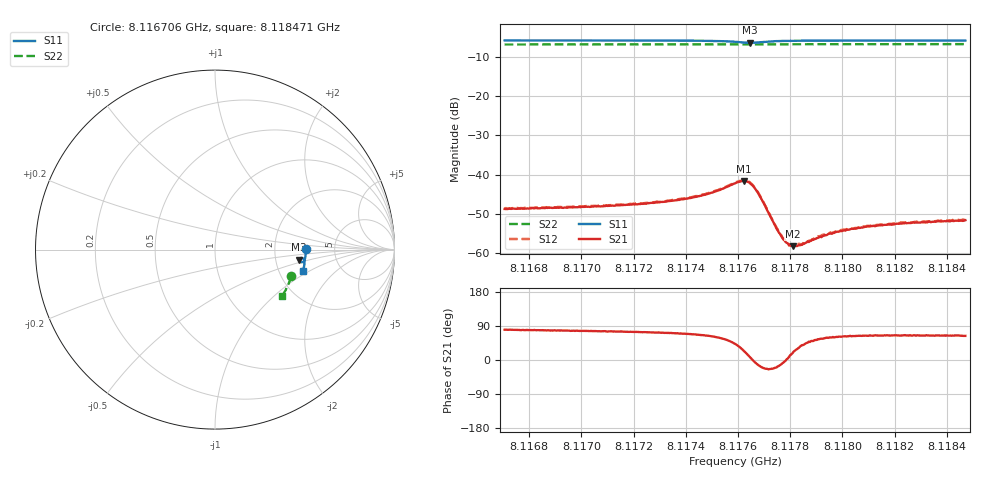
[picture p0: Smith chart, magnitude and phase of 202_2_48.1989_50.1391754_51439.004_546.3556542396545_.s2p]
#  HZ  S  RI  R  50.00
! Rohde & Schwarz Vector Network Analyzer
! Rohde-Schwarz,ZNB20-2Port,1311601062101988,3.16
! Created: UTC 3/20/2024, 11:45:05 AM
! freq[Hz]  re:S11  im:S11  re:S21  im:S21  re:S12  im:S12  re:S22  im:S22
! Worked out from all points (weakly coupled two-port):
!   401 points, 8.116706 GHz to 8.118471 GHz, reference 50 ohm
!   highest |S21| = -41.59 dB at 8.117624 GHz (marker M1); lowest = -58.1 dB at 8.117809 GHz (marker M2)
!   lowest |S11| = -6.5 dB at 8.117646 GHz (marker M3), VSWR 2.79, Z = 136 - j20 ohm
!   |S11| at or under -10 dB: nowhere
!   |S22| runs from -6.9 to -6.8 dB; largest |S21 - S12| = 0.00021
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8.1167062e9  0.5066 0.00542  0.000646 0.00362  0.000733 0.00366  0.4247 -0.1497
8.1170018e9  0.5058 -0.0174  0.000888 0.00382  0.000976 0.00385  0.4181 -0.1693
8.1172973e9  0.5033 -0.0417  0.00134 0.00427  0.00142 0.00429  0.4107 -0.1885
8.1174032e9  0.501 -0.0516  0.00177 0.00464  0.00185 0.00471  0.4078 -0.1955
8.1174694e9  0.4986 -0.0587  0.00231 0.00504  0.00241 0.00512  0.4057 -0.1997
8.1175311e9  0.4936 -0.066  0.00339 0.00544  0.00356 0.00554  0.4039 -0.2038
8.1175885e9  0.4822 -0.0709  0.00573 0.00527  0.0059 0.00532  0.4017 -0.2072
8.1176238e9  0.4717 -0.0657  0.00765 0.00329  0.00782 0.00326  0.4001 -0.2091
8.1176458e9  0.4696 -0.0569  0.00774 0.000977  0.00795 0.000932  0.3996 -0.2098
8.1176635e9  0.4728 -0.0501  0.00677 -0.000614  0.0069 -0.000701  0.3994 -0.2108
8.1176811e9  0.4787 -0.0467  0.00533 -0.00144  0.00546 -0.00151  0.3992 -0.2117
8.1177473e9  0.494 -0.0525  0.00195 -0.000696  0.00202 -0.000742  0.3977 -0.2161
8.1177649e9  0.4957 -0.0553  0.00164 -0.000341  0.00167 -0.000397  0.3974 -0.2172
8.117787e9  0.497 -0.0584  0.00136 5.94e-05  0.00141 4.79e-05  0.3968 -0.2188
8.117809e9  0.4979 -0.0614  0.00118 0.000389  0.00118 0.00039  0.3961 -0.2202
8.1178487e9  0.4985 -0.0664  0.00101 0.000835  0.00107 0.00084  0.3947 -0.2227
8.117884e9  0.4986 -0.0702  0.000955 0.00114  0.000984 0.00116  0.3937 -0.2251
8.1179237e9  0.4986 -0.0742  0.000921 0.00138  0.000972 0.00143  0.3924 -0.2277
8.1180031e9  0.4979 -0.0816  0.000907 0.00173  0.000965 0.00177  0.3898 -0.2325
8.1180914e9  0.4969 -0.0891  0.000948 0.00197  0.000993 0.00199  0.3868 -0.238
8.1181796e9  0.4957 -0.0963  0.000996 0.00211  0.00101 0.00216  0.3837 -0.2434
8.1184707e9  0.4908 -0.1186  0.00117 0.00237  0.00117 0.00242  0.3732 -0.2609
